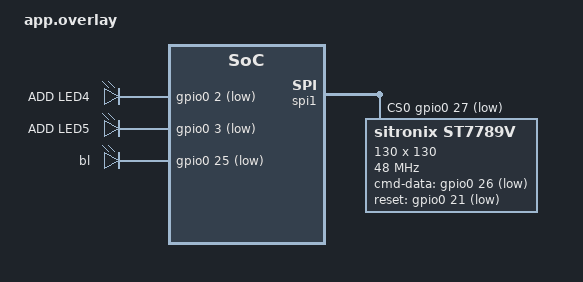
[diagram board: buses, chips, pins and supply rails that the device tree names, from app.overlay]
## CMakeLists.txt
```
cmake_minimum_required(VERSION 3.20.0)

find_package(Zephyr REQUIRED HINTS $ENV{ZEPHYR_BASE})
project(lvgl_nrf52840_mdk_sample)

FILE(GLOB app_sources src/*.c)
target_sources(app PRIVATE ${app_sources})
```

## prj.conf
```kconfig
# Hardware config System config
CONFIG_MAIN_STACK_SIZE=2048
CONFIG_DEBUG=y
CONFIG_LOG=y

# DISPLAY
CONFIG_DISPLAY=y
CONFIG_SPI=y
CONFIG_ST7789V=y

# LVGL config
CONFIG_LVGL=y
CONFIG_LV_MEM_CUSTOM=y
CONFIG_LV_USE_LOG=y
CONFIG_LV_COLOR_DEPTH_16=y
CONFIG_LV_COLOR_16_SWAP=y
CONFIG_LV_Z_BITS_PER_PIXEL=16
CONFIG_LV_USE_THEME_DEFAULT=y
CONFIG_LV_THEME_DEFAULT_DARK=y
CONFIG_LV_USE_METER=y
CONFIG_LV_Z_MEM_POOL_NUMBER_BLOCKS=8
CONFIG_LV_USE_QRCODE=y
CONFIG_LV_CONF_MINIMAL=y
CONFIG_LV_USE_LABEL=y
CONFIG_LV_LABEL_TEXT_SELECTION=y
CONFIG_LV_LABEL_LONG_TXT_HINT=y
CONFIG_LV_USE_CANVAS=y
CONFIG_LV_Z_POINTER_KSCAN=y
CONFIG_LV_FONT_MONTSERRAT_34=y
CONFIG_LV_USE_BTN=y
CONFIG_LV_USE_TEXTAREA=y
```

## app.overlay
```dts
/*
 * Copyright (c) 2022 Nordic Semiconductor ASA
 *
 * SPDX-License-Identifier: LicenseRef-Nordic-5-Clause
 */

/ {
    chosen {
        nordic,nus-uart = &uart0;
        zephyr,display = &st7789v;
    };
};
/ {
    leds {
        compatible = "gpio-leds";//组件名 可以去sdk下面找到gpio_leds.c的驱动文件：C: \ncs\sdk\zephyr\drivers\led\gpio_leds.c和C: \ncs\sdk\zephyr\dts\bindings\led\gpio-leds.yaml
        led4: led_4 {
            gpios = <&gpio0 2 GPIO_ACTIVE_LOW>;
            label = "ADD LED4";
        };
        led5: led_5 {
            gpios = <&gpio0 3 GPIO_ACTIVE_LOW>;
            label = "ADD LED5";
        };
        bl: bl {
            gpios = <&gpio0 25 GPIO_ACTIVE_LOW>;
            label = "bl";
        };

    };
    aliases {
        led4=&led4;//因为是以别名调用这个驱动的所以添加这个别名
        led5=&led5;
    };
};

&spi1_default {
    group1 {
        psels = <NRF_PSEL(SPIM_SCK, 0, 29)>, <NRF_PSEL(SPIM_MOSI, 0, 28)>;
    };
};
&spi1_sleep {
    group1 {
        psels = <NRF_PSEL(SPIM_SCK, 0, 29)>, <NRF_PSEL(SPIM_MOSI, 0, 28)>;
    };
};
&spi1 {
    compatible = "nordic,nrf-spi";
    status = "okay";

    cs-gpios = <&gpio0 27 GPIO_ACTIVE_LOW>;

    pinctrl-0 = <&spi1_default>;
    pinctrl-1 = <&spi1_sleep>;
    pinctrl-names = "default", "sleep";

    /* Sitronix ST7789V LCD */
    st7789v: st7789v@0 {
        compatible = "sitronix,st7789v";
        label = "ST7789V";
        reg = <0>;
        spi-max-frequency = <48000000>; /* 8MHz */
        cmd-data-gpios = <&gpio0 26 GPIO_ACTIVE_LOW>;    /* DET */
        reset-gpios = <&gpio0 21 GPIO_ACTIVE_LOW>;    /* RESX reset */
        width = <130>;
        height = <130>;
        x-offset = <0>;
        y-offset = <0>;
        vcom = <0x19>;
        gctrl = <0x35>;
        vrhs = <0x12>;
        vdvs = <0x20>;
        mdac = <0x00>;
        gamma = <0x01>;
        colmod = <0x05>;
        lcm = <0x2c>;
        porch-param = [ 0c 0c 00 33 33  ];
        cmd2en-param = [ 5a 69 02 01  ];
        pwctrl1-param = [ a4 a1  ];
        pvgam-param = [ D0 04 0D 11 13 2B 3F 54 4C 18 0D 0B 1F 23  ];
        nvgam-param = [ D0 04 0C 11 13 2C 3F 44 51 2F 1F 1F 20 23  ];
        ram-param = [ 00 F0  ];
        rgb-param = [ CD 08 14  ];
    };
};
/delete-node/ &{/pin-controller/spi1_sleep/group1/};
/delete-node/ &{/pin-controller/i2c0_default/group1/};
/delete-node/ &{/pin-controller/i2c0_sleep/group1/};/delete-node/ &{/pin-controller/spi2_default/group1/};
/delete-node/ &{/pin-controller/spi2_sleep/group1/};

&spi2 {
    /delete-property/ cs-gpios;
};
```

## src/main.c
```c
#include <zephyr/device.h>
#include <zephyr/drivers/display.h>
#include <lvgl.h>
#include <stdio.h>
#include <string.h>
#include <zephyr/kernel.h>
#include "lvgl_sample.h"
#include "gui_guider.h"
#include "events_init.h"
#include <zephyr/logging/log.h>
#define DISPLAY_DRIVER "ST7789V"

#define LOG_LEVEL CONFIG_LOG_DEFAULT_LEVEL
LOG_MODULE_REGISTER(app);
lv_ui guider_ui;

// 物理按键
#include <zephyr/drivers/gpio.h>

#define SW0_NODE DT_ALIAS(sw0) // 别名
#define SW1_NODE DT_ALIAS(sw1) // 别名
#define SW2_NODE DT_ALIAS(sw2) // 别名
#define SW3_NODE DT_ALIAS(sw3) // 别名
static const struct gpio_dt_spec button0 = GPIO_DT_SPEC_GET(SW0_NODE, gpios);
static const struct gpio_dt_spec button1 = GPIO_DT_SPEC_GET(SW1_NODE, gpios);
static const struct gpio_dt_spec button2 = GPIO_DT_SPEC_GET(SW2_NODE, gpios);
static const struct gpio_dt_spec button3 = GPIO_DT_SPEC_GET(SW3_NODE, gpios);
int keyfour[4] = {0, 0, 0, 0};
char KEY_VAL = -1;
lv_indev_drv_t indev_drv; // 物理按键
lv_indev_t *indev_button;
lv_point_t btn_points[4] = {
	{30, 98},
	{110, 98},
	{0, 0},
	{0, 0},
};

static void button_read(lv_indev_drv_t *indev_drv, lv_indev_data_t *data)
{
	static uint8_t last_btn = 0;
	/*Get the pressed button's ID*/
	int8_t btn_act;
	btn_act = KEY_VAL; // 将实际键值传递给响应键值
	KEY_VAL = -1;
	if (btn_act >= 0)
	{
		data->state = LV_INDEV_STATE_PR;
		last_btn = btn_act;
	}
	else
	{
		data->state = LV_INDEV_STATE_REL;
	}
	/*Save the last pressed button's ID*/
	data->btn_id = last_btn;
}

void main(void)
{
	const struct device *display_dev;

	display_dev = device_get_binding(DISPLAY_DRIVER);
	if (!device_is_ready(display_dev))
	{
		LOG_ERR("Device not ready, aborting test");
		return;
	}

	lv_sample();
	display_blanking_off(display_dev);

	lv_indev_drv_init(&indev_drv);
	indev_drv.type = LV_INDEV_TYPE_BUTTON;
	indev_drv.read_cb = button_read;
	indev_button = lv_indev_drv_register(&indev_drv);
	lv_indev_set_button_points(indev_button, btn_points); // 将按键与坐标连接

	// lv_group_t *g = lv_group_create();
	// lv_group_set_default(g); //    lv_group_add_obj(g,label);
	// lv_indev_set_group(indev_button, g);

	setup_ui(&guider_ui);
	events_init(&guider_ui);

	while (1)
	{
		lv_task_handler();
		k_sleep(K_MSEC(10));
	}
}
int keyread(void)
{
	int ret;
	// check dt
	if (!gpio_is_ready_dt(&button0) || !gpio_is_ready_dt(&button1) || !gpio_is_ready_dt(&button2) || !gpio_is_ready_dt(&button3))
	{
		return 0;
	}

	gpio_pin_configure_dt(&button0, GPIO_INPUT);
	gpio_pin_configure_dt(&button1, GPIO_INPUT);
	gpio_pin_configure_dt(&button2, GPIO_INPUT);
	gpio_pin_configure_dt(&button3, GPIO_INPUT);

	while (1)
	{
		keyfour[0] = gpio_pin_get_dt(&button0);
		keyfour[1] = gpio_pin_get_dt(&button1);
		keyfour[2] = gpio_pin_get_dt(&button2);
		keyfour[3] = gpio_pin_get_dt(&button3);
		if (keyfour[0] == 1)
		{
			KEY_VAL = 0;
		}
		if (keyfour[1] == 1)
		{
			KEY_VAL = 1;
		}
		if (keyfour[2] == 1)
		{
			KEY_VAL = 2;
		}
		if (keyfour[3] == 1)
		{
			KEY_VAL = 3;
		}
		k_msleep(10);
	}

	return 0;
}

K_THREAD_DEFINE(keyread_id, 1024, keyread, NULL, NULL, NULL, 7, 0, 0);
```

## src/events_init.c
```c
/*
* Copyright 2024 NXP
* NXP Confidential and Proprietary. This software is owned or controlled by NXP and may only be used strictly in
* accordance with the applicable license terms. By expressly accepting such terms or by downloading, installing,
* activating and/or otherwise using the software, you are agreeing that you have read, and that you agree to
* comply with and are bound by, such license terms.  If you do not agree to be bound by the applicable license
* terms, then you may not retain, install, activate or otherwise use the software.
*/

#include "events_init.h"
#include <stdio.h>
#include "lvgl.h"


static void screen_btn_1_event_handler (lv_event_t *e)
{
	lv_event_code_t code = lv_event_get_code(e);

	switch (code) {
	case LV_EVENT_CLICKED:
	{
		//Write the load screen code.
	    lv_obj_t * act_scr = lv_scr_act();
	    lv_disp_t * d = lv_obj_get_disp(act_scr);
	    if (d->prev_scr == NULL && (d->scr_to_load == NULL || d->scr_to_load == act_scr)) {
	        if (guider_ui.screen_1_del == true) {
	          setup_scr_screen_1(&guider_ui);
	        }
	        lv_scr_load_anim(guider_ui.screen_1, LV_SCR_LOAD_ANIM_NONE, 200, 200, true);
	        guider_ui.screen_1_del = true;
	    }
		break;
	}
	default:
		break;
	}
}
void events_init_screen(lv_ui *ui)
{
	lv_obj_add_event_cb(ui->screen_btn_1, screen_btn_1_event_handler, LV_EVENT_ALL, NULL);
}
static void screen_1_btn_1_event_handler (lv_event_t *e)
{
	lv_event_code_t code = lv_event_get_code(e);

	switch (code) {
	case LV_EVENT_CLICKED:
	{
		//Write the load screen code.
	    lv_obj_t * act_scr = lv_scr_act();
	    lv_disp_t * d = lv_obj_get_disp(act_scr);
	    if (d->prev_scr == NULL && (d->scr_to_load == NULL || d->scr_to_load == act_scr)) {
	        if (guider_ui.screen_2_del == true) {
	          setup_scr_screen_2(&guider_ui);
	        }
	        lv_scr_load_anim(guider_ui.screen_2, LV_SCR_LOAD_ANIM_NONE, 200, 200, true);
	        guider_ui.screen_2_del = true;
	    }
		break;
	}
	default:
		break;
	}
}
static void screen_1_btn_2_event_handler (lv_event_t *e)
{
	lv_event_code_t code = lv_event_get_code(e);

	switch (code) {
	case LV_EVENT_CLICKED:
	{
		//Write the load screen code.
	    lv_obj_t * act_scr = lv_scr_act();
	    lv_disp_t * d = lv_obj_get_disp(act_scr);
	    if (d->prev_scr == NULL && (d->scr_to_load == NULL || d->scr_to_load == act_scr)) {
	        if (guider_ui.screen_del == true) {
	          setup_scr_screen(&guider_ui);
	        }
	        lv_scr_load_anim(guider_ui.screen, LV_SCR_LOAD_ANIM_NONE, 200, 200, true);
	        guider_ui.screen_del = true;
	    }
		break;
	}
	default:
		break;
	}
}
void events_init_screen_1(lv_ui *ui)
{
	lv_obj_add_event_cb(ui->screen_1_btn_1, screen_1_btn_1_event_handler, LV_EVENT_ALL, NULL);
	lv_obj_add_event_cb(ui->screen_1_btn_2, screen_1_btn_2_event_handler, LV_EVENT_ALL, NULL);
}
static void screen_2_btn_1_event_handler (lv_event_t *e)
{
	lv_event_code_t code = lv_event_get_code(e);

	switch (code) {
	case LV_EVENT_CLICKED:
	{
		//Write the load screen code.
	    lv_obj_t * act_scr = lv_scr_act();
	    lv_disp_t * d = lv_obj_get_disp(act_scr);
	    if (d->prev_scr == NULL && (d->scr_to_load == NULL || d->scr_to_load == act_scr)) {
	        if (guider_ui.screen_del == true) {
	          setup_scr_screen(&guider_ui);
	        }
	        lv_scr_load_anim(guider_ui.screen, LV_SCR_LOAD_ANIM_NONE, 200, 200, true);
	        guider_ui.screen_del = true;
	    }
		break;
	}
	default:
		break;
	}
}
void events_init_screen_2(lv_ui *ui)
{
	lv_obj_add_event_cb(ui->screen_2_btn_1, screen_2_btn_1_event_handler, LV_EVENT_ALL, NULL);
}

void events_init(lv_ui *ui)
{

}
```

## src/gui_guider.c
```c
/*
 * Copyright 2024 NXP
 * NXP Confidential and Proprietary. This software is owned or controlled by NXP and may only be used strictly in
 * accordance with the applicable license terms. By expressly accepting such terms or by downloading, installing,
 * activating and/or otherwise using the software, you are agreeing that you have read, and that you agree to
 * comply with and are bound by, such license terms.  If you do not agree to be bound by the applicable license
 * terms, then you may not retain, install, activate or otherwise use the software.
 */

#include "lvgl.h"
#include <stdio.h>
#include "gui_guider.h"

void ui_init_style(lv_style_t *style)
{
  if (style->prop_cnt > 1)
    lv_style_reset(style);
  else
    lv_style_init(style);
}

void init_scr_del_flag(lv_ui *ui)
{

  ui->screen_del = true;
  ui->screen_1_del = true;
  ui->screen_2_del = true;
}

void setup_ui(lv_ui *ui)
{
  init_scr_del_flag(ui);
  setup_scr_screen(ui);
  lv_scr_load(ui->screen);
}
```

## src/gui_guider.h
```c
/*
* Copyright 2024 NXP
* NXP Confidential and Proprietary. This software is owned or controlled by NXP and may only be used strictly in
* accordance with the applicable license terms. By expressly accepting such terms or by downloading, installing,
* activating and/or otherwise using the software, you are agreeing that you have read, and that you agree to
* comply with and are bound by, such license terms.  If you do not agree to be bound by the applicable license
* terms, then you may not retain, install, activate or otherwise use the software.
*/

#ifndef GUI_GUIDER_H
#define GUI_GUIDER_H
#ifdef __cplusplus
extern "C" {
#endif

#include "lvgl.h"

typedef struct
{
  
	lv_obj_t *screen;
	bool screen_del;
	lv_obj_t *screen_btn_1;
	lv_obj_t *screen_btn_1_label;
	lv_obj_t *screen_qrcode_1;
	lv_obj_t *screen_1;
	bool screen_1_del;
	lv_obj_t *screen_1_ta_1;
	lv_obj_t *screen_1_btn_1;
	lv_obj_t *screen_1_btn_1_label;
	lv_obj_t *screen_1_btn_2;
	lv_obj_t *screen_1_btn_2_label;
	lv_obj_t *screen_2;
	bool screen_2_del;
	lv_obj_t *screen_2_btn_1;
	lv_obj_t *screen_2_btn_1_label;
}lv_ui;

void ui_init_style(lv_style_t * style);
void init_scr_del_flag(lv_ui *ui);
void setup_ui(lv_ui *ui);
extern lv_ui guider_ui;

void setup_scr_screen(lv_ui *ui);
void setup_scr_screen_1(lv_ui *ui);
void setup_scr_screen_2(lv_ui *ui);

LV_FONT_DECLARE(lv_font_montserratMedium_16)
LV_FONT_DECLARE(lv_font_montserratMedium_12)


#ifdef __cplusplus
}
#endif
#endif
```

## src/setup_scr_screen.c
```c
/*
* Copyright 2024 NXP
* NXP Confidential and Proprietary. This software is owned or controlled by NXP and may only be used strictly in
* accordance with the applicable license terms. By expressly accepting such terms or by downloading, installing,
* activating and/or otherwise using the software, you are agreeing that you have read, and that you agree to
* comply with and are bound by, such license terms.  If you do not agree to be bound by the applicable license
* terms, then you may not retain, install, activate or otherwise use the software.
*/

#include "lvgl.h"
#include <stdio.h>
#include "gui_guider.h"
#include "events_init.h"
#include "widgets_init.h"
#include "custom.h"


void setup_scr_screen(lv_ui *ui)
{
	//Write codes screen
	ui->screen = lv_obj_create(NULL);
	lv_obj_set_size(ui->screen, 130, 130);
	lv_obj_set_scrollbar_mode(ui->screen, LV_SCROLLBAR_MODE_OFF);

	//Write style for screen, Part: LV_PART_MAIN, State: LV_STATE_DEFAULT.
	lv_obj_set_style_bg_opa(ui->screen, 0, LV_PART_MAIN|LV_STATE_DEFAULT);

	//Write codes screen_btn_1
	ui->screen_btn_1 = lv_btn_create(ui->screen);
	ui->screen_btn_1_label = lv_label_create(ui->screen_btn_1);
	lv_label_set_text(ui->screen_btn_1_label, "enter");
	lv_label_set_long_mode(ui->screen_btn_1_label, LV_LABEL_LONG_WRAP);
	lv_obj_align(ui->screen_btn_1_label, LV_ALIGN_CENTER, 0, 0);
	lv_obj_set_style_pad_all(ui->screen_btn_1, 0, LV_STATE_DEFAULT);
	lv_obj_set_pos(ui->screen_btn_1, 26, 92);
	lv_obj_set_size(ui->screen_btn_1, 79, 26);
	lv_obj_set_scrollbar_mode(ui->screen_btn_1, LV_SCROLLBAR_MODE_OFF);

	//Write style for screen_btn_1, Part: LV_PART_MAIN, State: LV_STATE_DEFAULT.
	lv_obj_set_style_bg_opa(ui->screen_btn_1, 255, LV_PART_MAIN|LV_STATE_DEFAULT);
	lv_obj_set_style_bg_color(ui->screen_btn_1, lv_color_hex(0x2195f6), LV_PART_MAIN|LV_STATE_DEFAULT);
	lv_obj_set_style_border_width(ui->screen_btn_1, 0, LV_PART_MAIN|LV_STATE_DEFAULT);
	lv_obj_set_style_radius(ui->screen_btn_1, 5, LV_PART_MAIN|LV_STATE_DEFAULT);
	lv_obj_set_style_shadow_width(ui->screen_btn_1, 0, LV_PART_MAIN|LV_STATE_DEFAULT);
	lv_obj_set_style_text_color(ui->screen_btn_1, lv_color_hex(0xffffff), LV_PART_MAIN|LV_STATE_DEFAULT);
	lv_obj_set_style_text_font(ui->screen_btn_1, &lv_font_montserratMedium_16, LV_PART_MAIN|LV_STATE_DEFAULT);
	lv_obj_set_style_text_align(ui->screen_btn_1, LV_TEXT_ALIGN_CENTER, LV_PART_MAIN|LV_STATE_DEFAULT);

	//Write codes screen_qrcode_1
	ui->screen_qrcode_1 = lv_qrcode_create(ui->screen, 57, lv_color_hex(0x2C3224), lv_color_hex(0xffffff));
	const char * screen_qrcode_1_data = "https://www.nxp.com/";
	lv_qrcode_update(ui->screen_qrcode_1, screen_qrcode_1_data, strlen(screen_qrcode_1_data));
	lv_obj_set_pos(ui->screen_qrcode_1, 37, 22);
	lv_obj_set_size(ui->screen_qrcode_1, 57, 57);

	//Update current screen layout.
	lv_obj_update_layout(ui->screen);

	
	//Init events for screen.
	events_init_screen(ui);
}
```

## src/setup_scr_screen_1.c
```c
/*
* Copyright 2024 NXP
* NXP Confidential and Proprietary. This software is owned or controlled by NXP and may only be used strictly in
* accordance with the applicable license terms. By expressly accepting such terms or by downloading, installing,
* activating and/or otherwise using the software, you are agreeing that you have read, and that you agree to
* comply with and are bound by, such license terms.  If you do not agree to be bound by the applicable license
* terms, then you may not retain, install, activate or otherwise use the software.
*/

#include "lvgl.h"
#include <stdio.h>
#include "gui_guider.h"
#include "events_init.h"
#include "widgets_init.h"
#include "custom.h"


void setup_scr_screen_1(lv_ui *ui)
{
	//Write codes screen_1
	ui->screen_1 = lv_obj_create(NULL);
	lv_obj_set_size(ui->screen_1, 130, 130);
	lv_obj_set_scrollbar_mode(ui->screen_1, LV_SCROLLBAR_MODE_OFF);

	//Write style for screen_1, Part: LV_PART_MAIN, State: LV_STATE_DEFAULT.
	lv_obj_set_style_bg_opa(ui->screen_1, 0, LV_PART_MAIN|LV_STATE_DEFAULT);

	//Write codes screen_1_ta_1
	ui->screen_1_ta_1 = lv_textarea_create(ui->screen_1);
	lv_textarea_set_text(ui->screen_1_ta_1, "Hello World");
	lv_obj_set_pos(ui->screen_1_ta_1, -3, -1);
	lv_obj_set_size(ui->screen_1_ta_1, 135, 63);
	lv_obj_set_scrollbar_mode(ui->screen_1_ta_1, LV_SCROLLBAR_MODE_OFF);

	//Write style for screen_1_ta_1, Part: LV_PART_MAIN, State: LV_STATE_DEFAULT.
	lv_obj_set_style_text_color(ui->screen_1_ta_1, lv_color_hex(0x000000), LV_PART_MAIN|LV_STATE_DEFAULT);
	lv_obj_set_style_text_font(ui->screen_1_ta_1, &lv_font_montserratMedium_12, LV_PART_MAIN|LV_STATE_DEFAULT);
	lv_obj_set_style_text_letter_space(ui->screen_1_ta_1, 2, LV_PART_MAIN|LV_STATE_DEFAULT);
	lv_obj_set_style_text_align(ui->screen_1_ta_1, LV_TEXT_ALIGN_LEFT, LV_PART_MAIN|LV_STATE_DEFAULT);
	lv_obj_set_style_bg_opa(ui->screen_1_ta_1, 255, LV_PART_MAIN|LV_STATE_DEFAULT);
	lv_obj_set_style_bg_color(ui->screen_1_ta_1, lv_color_hex(0xffffff), LV_PART_MAIN|LV_STATE_DEFAULT);
	lv_obj_set_style_border_width(ui->screen_1_ta_1, 2, LV_PART_MAIN|LV_STATE_DEFAULT);
	lv_obj_set_style_border_opa(ui->screen_1_ta_1, 255, LV_PART_MAIN|LV_STATE_DEFAULT);
	lv_obj_set_style_border_color(ui->screen_1_ta_1, lv_color_hex(0xe6e6e6), LV_PART_MAIN|LV_STATE_DEFAULT);
	lv_obj_set_style_shadow_width(ui->screen_1_ta_1, 0, LV_PART_MAIN|LV_STATE_DEFAULT);
	lv_obj_set_style_pad_top(ui->screen_1_ta_1, 4, LV_PART_MAIN|LV_STATE_DEFAULT);
	lv_obj_set_style_pad_right(ui->screen_1_ta_1, 4, LV_PART_MAIN|LV_STATE_DEFAULT);
	lv_obj_set_style_pad_left(ui->screen_1_ta_1, 4, LV_PART_MAIN|LV_STATE_DEFAULT);
	lv_obj_set_style_radius(ui->screen_1_ta_1, 4, LV_PART_MAIN|LV_STATE_DEFAULT);

	//Write style for screen_1_ta_1, Part: LV_PART_SCROLLBAR, State: LV_STATE_DEFAULT.
	lv_obj_set_style_bg_opa(ui->screen_1_ta_1, 255, LV_PART_SCROLLBAR|LV_STATE_DEFAULT);
	lv_obj_set_style_bg_color(ui->screen_1_ta_1, lv_color_hex(0x2195f6), LV_PART_SCROLLBAR|LV_STATE_DEFAULT);
	lv_obj_set_style_radius(ui->screen_1_ta_1, 0, LV_PART_SCROLLBAR|LV_STATE_DEFAULT);

	//Write codes screen_1_btn_1
	ui->screen_1_btn_1 = lv_btn_create(ui->screen_1);
	ui->screen_1_btn_1_label = lv_label_create(ui->screen_1_btn_1);
	lv_label_set_text(ui->screen_1_btn_1_label, "next");
	lv_label_set_long_mode(ui->screen_1_btn_1_label, LV_LABEL_LONG_WRAP);
	lv_obj_align(ui->screen_1_btn_1_label, LV_ALIGN_CENTER, 0, 0);
	lv_obj_set_style_pad_all(ui->screen_1_btn_1, 0, LV_STATE_DEFAULT);
	lv_obj_set_pos(ui->screen_1_btn_1, 76, 98);
	lv_obj_set_size(ui->screen_1_btn_1, 46, 21);
	lv_obj_set_scrollbar_mode(ui->screen_1_btn_1, LV_SCROLLBAR_MODE_OFF);

	//Write style for screen_1_btn_1, Part: LV_PART_MAIN, State: LV_STATE_DEFAULT.
	lv_obj_set_style_bg_opa(ui->screen_1_btn_1, 255, LV_PART_MAIN|LV_STATE_DEFAULT);
	lv_obj_set_style_bg_color(ui->screen_1_btn_1, lv_color_hex(0x2195f6), LV_PART_MAIN|LV_STATE_DEFAULT);
	lv_obj_set_style_border_width(ui->screen_1_btn_1, 0, LV_PART_MAIN|LV_STATE_DEFAULT);
	lv_obj_set_style_radius(ui->screen_1_btn_1, 5, LV_PART_MAIN|LV_STATE_DEFAULT);
	lv_obj_set_style_shadow_width(ui->screen_1_btn_1, 0, LV_PART_MAIN|LV_STATE_DEFAULT);
	lv_obj_set_style_text_color(ui->screen_1_btn_1, lv_color_hex(0xffffff), LV_PART_MAIN|LV_STATE_DEFAULT);
	lv_obj_set_style_text_font(ui->screen_1_btn_1, &lv_font_montserratMedium_16, LV_PART_MAIN|LV_STATE_DEFAULT);
	lv_obj_set_style_text_align(ui->screen_1_btn_1, LV_TEXT_ALIGN_CENTER, LV_PART_MAIN|LV_STATE_DEFAULT);

	//Write codes screen_1_btn_2
	ui->screen_1_btn_2 = lv_btn_create(ui->screen_1);
	ui->screen_1_btn_2_label = lv_label_create(ui->screen_1_btn_2);
	lv_label_set_text(ui->screen_1_btn_2_label, "back");
	lv_label_set_long_mode(ui->screen_1_btn_2_label, LV_LABEL_LONG_WRAP);
	lv_obj_align(ui->screen_1_btn_2_label, LV_ALIGN_CENTER, 0, 0);
	lv_obj_set_style_pad_all(ui->screen_1_btn_2, 0, LV_STATE_DEFAULT);
	lv_obj_set_pos(ui->screen_1_btn_2, 14, 98);
	lv_obj_set_size(ui->screen_1_btn_2, 46, 21);
	lv_obj_set_scrollbar_mode(ui->screen_1_btn_2, LV_SCROLLBAR_MODE_OFF);

	//Write style for screen_1_btn_2, Part: LV_PART_MAIN, State: LV_STATE_DEFAULT.
	lv_obj_set_style_bg_opa(ui->screen_1_btn_2, 255, LV_PART_MAIN|LV_STATE_DEFAULT);
	lv_obj_set_style_bg_color(ui->screen_1_btn_2, lv_color_hex(0x2195f6), LV_PART_MAIN|LV_STATE_DEFAULT);
	lv_obj_set_style_border_width(ui->screen_1_btn_2, 0, LV_PART_MAIN|LV_STATE_DEFAULT);
	lv_obj_set_style_radius(ui->screen_1_btn_2, 5, LV_PART_MAIN|LV_STATE_DEFAULT);
	lv_obj_set_style_shadow_width(ui->screen_1_btn_2, 0, LV_PART_MAIN|LV_STATE_DEFAULT);
	lv_obj_set_style_text_color(ui->screen_1_btn_2, lv_color_hex(0xffffff), LV_PART_MAIN|LV_STATE_DEFAULT);
	lv_obj_set_style_text_font(ui->screen_1_btn_2, &lv_font_montserratMedium_16, LV_PART_MAIN|LV_STATE_DEFAULT);
	lv_obj_set_style_text_align(ui->screen_1_btn_2, LV_TEXT_ALIGN_CENTER, LV_PART_MAIN|LV_STATE_DEFAULT);

	//Update current screen layout.
	lv_obj_update_layout(ui->screen_1);

	
	//Init events for screen.
	events_init_screen_1(ui);
}
```

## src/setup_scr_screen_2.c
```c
/*
* Copyright 2024 NXP
* NXP Confidential and Proprietary. This software is owned or controlled by NXP and may only be used strictly in
* accordance with the applicable license terms. By expressly accepting such terms or by downloading, installing,
* activating and/or otherwise using the software, you are agreeing that you have read, and that you agree to
* comply with and are bound by, such license terms.  If you do not agree to be bound by the applicable license
* terms, then you may not retain, install, activate or otherwise use the software.
*/

#include "lvgl.h"
#include <stdio.h>
#include "gui_guider.h"
#include "events_init.h"
#include "widgets_init.h"
#include "custom.h"


void setup_scr_screen_2(lv_ui *ui)
{
	//Write codes screen_2
	ui->screen_2 = lv_obj_create(NULL);
	lv_obj_set_size(ui->screen_2, 130, 130);
	lv_obj_set_scrollbar_mode(ui->screen_2, LV_SCROLLBAR_MODE_OFF);

	//Write style for screen_2, Part: LV_PART_MAIN, State: LV_STATE_DEFAULT.
	lv_obj_set_style_bg_opa(ui->screen_2, 0, LV_PART_MAIN|LV_STATE_DEFAULT);

	//Write codes screen_2_btn_1
	ui->screen_2_btn_1 = lv_btn_create(ui->screen_2);
	ui->screen_2_btn_1_label = lv_label_create(ui->screen_2_btn_1);
	lv_label_set_text(ui->screen_2_btn_1_label, "back");
	lv_label_set_long_mode(ui->screen_2_btn_1_label, LV_LABEL_LONG_WRAP);
	lv_obj_align(ui->screen_2_btn_1_label, LV_ALIGN_CENTER, 0, 0);
	lv_obj_set_style_pad_all(ui->screen_2_btn_1, 0, LV_STATE_DEFAULT);
	lv_obj_set_pos(ui->screen_2_btn_1, 37, 86);
	lv_obj_set_size(ui->screen_2_btn_1, 57, 34);
	lv_obj_set_scrollbar_mode(ui->screen_2_btn_1, LV_SCROLLBAR_MODE_OFF);

	//Write style for screen_2_btn_1, Part: LV_PART_MAIN, State: LV_STATE_DEFAULT.
	lv_obj_set_style_bg_opa(ui->screen_2_btn_1, 255, LV_PART_MAIN|LV_STATE_DEFAULT);
	lv_obj_set_style_bg_color(ui->screen_2_btn_1, lv_color_hex(0x2195f6), LV_PART_MAIN|LV_STATE_DEFAULT);
	lv_obj_set_style_border_width(ui->screen_2_btn_1, 0, LV_PART_MAIN|LV_STATE_DEFAULT);
	lv_obj_set_style_radius(ui->screen_2_btn_1, 5, LV_PART_MAIN|LV_STATE_DEFAULT);
	lv_obj_set_style_shadow_width(ui->screen_2_btn_1, 0, LV_PART_MAIN|LV_STATE_DEFAULT);
	lv_obj_set_style_text_color(ui->screen_2_btn_1, lv_color_hex(0xffffff), LV_PART_MAIN|LV_STATE_DEFAULT);
	lv_obj_set_style_text_font(ui->screen_2_btn_1, &lv_font_montserratMedium_16, LV_PART_MAIN|LV_STATE_DEFAULT);
	lv_obj_set_style_text_align(ui->screen_2_btn_1, LV_TEXT_ALIGN_CENTER, LV_PART_MAIN|LV_STATE_DEFAULT);

	//Update current screen layout.
	lv_obj_update_layout(ui->screen_2);

	
	//Init events for screen.
	events_init_screen_2(ui);
}
```
